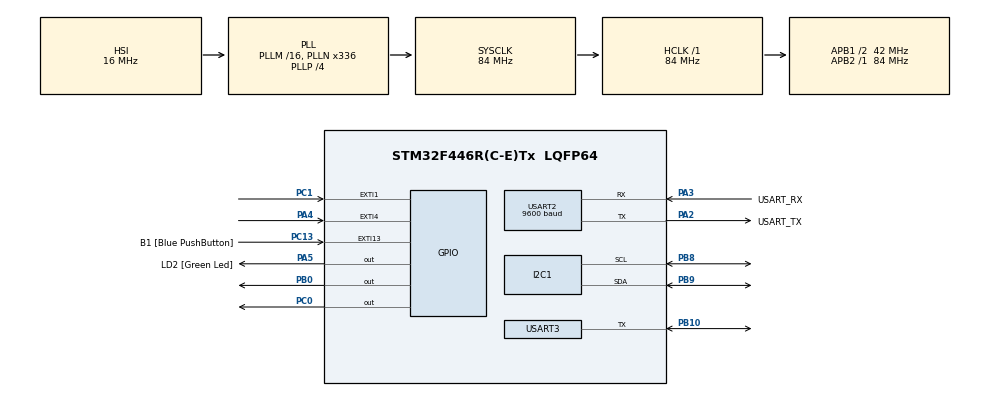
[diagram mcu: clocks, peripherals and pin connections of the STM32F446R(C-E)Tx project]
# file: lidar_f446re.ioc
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I2C1.I2C_Mode=I2C_Fast
Mcu.Family=STM32F4
Mcu.Name=STM32F446R(C-E)Tx
Mcu.Package=LQFP64
NVIC.EXTI1_IRQn=true\:0\:0\:false\:false\:true\:true\:true
NVIC.EXTI4_IRQn=true\:0\:0\:false\:false\:true\:true\:true
NVIC.PriorityGroup=NVIC_PRIORITYGROUP_0
PA13.GPIO_Label=TMS
PA13.Mode=Serial_Wire
PA13.Signal=SYS_JTMS-SWDIO
PA14.GPIO_Label=TCK
PA14.Mode=Serial_Wire
PA14.Signal=SYS_JTCK-SWCLK
PA2.GPIO_Label=USART_TX
PA2.Mode=Asynchronous
PA2.Signal=USART2_TX
PA3.GPIO_Label=USART_RX
PA3.Mode=Asynchronous
PA3.Signal=USART2_RX
PA4.Signal=GPXTI4
PA5.GPIO_Label=LD2 [Green Led]
PA5.Signal=GPIO_Output
PB0.Signal=GPIO_Output
PB10.Mode=Half_duplex(single_wire_mode)
PB10.Signal=USART3_TX
PB3.GPIO_Label=SWO
PB3.Signal=SYS_JTDO-SWO
PB8.Mode=I2C
PB8.Signal=I2C1_SCL
PB9.Mode=I2C
PB9.Signal=I2C1_SDA
PC0.Signal=GPIO_Output
PC1.Signal=GPXTI1
PC13.GPIO_Label=B1 [Blue PushButton]
PC13.GPIO_ModeDefaultEXTI=GPIO_MODE_IT_FALLING
PC13.Signal=GPXTI13
PC14-OSC32_IN.Mode=LSE-External-Oscillator
PC14-OSC32_IN.Signal=RCC_OSC32_IN
PC15-OSC32_OUT.Mode=LSE-External-Oscillator
PC15-OSC32_OUT.Signal=RCC_OSC32_OUT
PH0-OSC_IN.Mode=HSE-External-Oscillator
PH0-OSC_IN.Signal=RCC_OSC_IN
PH1-OSC_OUT.Mode=HSE-External-Oscillator
PH1-OSC_OUT.Signal=RCC_OSC_OUT
ProjectManager.HeapSize=0x200
ProjectManager.StackSize=0x400
ProjectManager.TargetToolchain=STM32CubeIDE
RCC.48MHZClocksFreq_Value=84000000
RCC.AHBFreq_Value=84000000
RCC.APB1CLKDivider=RCC_HCLK_DIV2
RCC.APB1Freq_Value=42000000
RCC.APB1TimFreq_Value=84000000
RCC.APB2Freq_Value=84000000
RCC.APB2TimFreq_Value=84000000
RCC.CortexFreq_Value=84000000
RCC.FLatency-AdvancedSettings=FLASH_LATENCY_2
RCC.HCLKFreq_Value=84000000
RCC.HSE_VALUE=8000000
RCC.HSI_VALUE=16000000
RCC.PLLN=336
RCC.PLLP=RCC_PLLP_DIV4
RCC.SYSCLKFreq_VALUE=84000000
RCC.SYSCLKSource=RCC_SYSCLKSOURCE_PLLCLK
RCC.USBFreq_Value=168000000
RCC.VCOOutputFreq_Value=336000000
USART2.BaudRate=9600
USART2.VirtualMode=VM_ASYNC
USART3.BaudRate=250000
USART3.VirtualMode=VM_ASYNC
board=NUCLEO-F446RE

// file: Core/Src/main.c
/* USER CODE BEGIN Header */
/**
  ******************************************************************************
  * @file           : main.c
  * @brief          : Main program body
  ******************************************************************************
  * @attention
  *
  * <h2><center>&copy; Copyright (c) 2021 STMicroelectronics.
  * All rights reserved.</center></h2>
  *
  * This software component is licensed by ST under BSD 3-Clause license,
  * the "License"; You may not use this file except in compliance with the
  * License. You may obtain a copy of the License at:
  *                        opensource.org/licenses/BSD-3-Clause
  *
  ******************************************************************************
  */
/* USER CODE END Header */
#include "main.h"
#include "i2c.h"
#include "usart.h"
#include "gpio.h"

/* USER CODE BEGIN Includes */
#include "global.h"
/* USER CODE END Includes */

/* USER CODE BEGIN PV */
VL53L0X_Struct vl53l0x[NB_OF_SENSORS];
float results[NB_OF_SENSORS] = {0};
AX12 ax12;
/* USER CODE END PV */

void SystemClock_Config(void);

int main(void)
{

  /* MCU Configuration--------------------------------------------------------*/

  /* Reset of all peripherals, Initializes the Flash interface and the Systick. */
  HAL_Init();

  /* Configure the system clock */
  SystemClock_Config();

  /* Initialize all configured peripherals */
  MX_GPIO_Init();
  MX_USART2_UART_Init();
  MX_I2C1_Init();
  MX_USART3_UART_Init();
  /* USER CODE BEGIN 2 */
  RetargetInit(&huart2);
  printf("lidar_f446re\r\n");
  /* USER CODE END 2 */

  /* Infinite loop */
  /* USER CODE BEGIN WHILE */

  ///// VL53L0X /////

  // Initialisation du capteur n°1
#if NB_OF_SENSORS == 1
  vl_xshut_init(&vl53l0x[0], GPIOC, GPIO_PIN_0); 			// XSHUT = PC0
  vl_sensors_init(&vl53l0x[0], &hi2c1, NB_OF_SENSORS);
#endif
#if NB_OF_SENSORS == 2
  vl_xshut_init(&vl53l0x[0], GPIOC, GPIO_PIN_0); 			// XSHUT = PC0
  vl_xshut_init(&vl53l0x[1], GPIOB, GPIO_PIN_0); 			// XSHUT = PB0
  vl_sensors_init(vl53l0x, &hi2c1, NB_OF_SENSORS);
#endif

  ///// AX-12 /////
#if AX12_ENABLE
  AX12_Init(&ax12, &huart3, 1, BR_250K);
  AX12_TorqueE_D(&ax12, TRUE);
  AX12_setMaxTorque(&ax12,50);

  AX12_setRangeAngle(&ax12,0,300);
  AX12_setMovingSpeed(&ax12, 114);
  AX12_setPosition(&ax12, 0);
#endif

while (1)
  {
#if IT_MODE == 0
	  for(float k = AX12_POS_MIN+AX12_POS_JUMP; k <= AX12_POS_MAX; k += AX12_POS_JUMP){
		  for(int i=0; i<NB_OF_SENSORS; i++){
			  results[i] = (float)vl_perform_ranging(&vl53l0x[i]);
		  }
#if NB_OF_SENSORS == 1
		  printf("%f %f\r\n", k, results[0]);
#endif
#if NB_OF_SENSORS == 2
		  printf("%f %f %f\r\n", k, results[0], results[1]);
#endif
#if AX12_ENABLE
		  AX12_setPosition(&ax12, k);
#endif
		  HAL_Delay(AX12_TIME_JUMP);
	  }

	  for(float k = AX12_POS_MAX-AX12_POS_JUMP; k >= AX12_POS_MIN; k -= AX12_POS_JUMP){
		  for(int i=0; i<NB_OF_SENSORS; i++){
			  results[i] = (float)vl_perform_ranging(&vl53l0x[i]);
		  }
#if NB_OF_SENSORS == 1
		  printf("%f %f\r\n", k, results[0]);
#endif
#if NB_OF_SENSORS == 2
		  printf("%f %f %f\r\n", k, results[0], results[1]);
#endif
#if AX12_ENABLE
		  AX12_setPosition(&ax12, k);
#endif
		  HAL_Delay(AX12_TIME_JUMP);
	  }
#else
	  printf("1: %f 2: %f\r\n", results[0], results[1]);
#endif

    /* USER CODE END WHILE */

  }
}

void SystemClock_Config(void)
{
  RCC_OscInitTypeDef RCC_OscInitStruct = {0};
  RCC_ClkInitTypeDef RCC_ClkInitStruct = {0};

  /** Configure the main internal regulator output voltage
  */
  __HAL_RCC_PWR_CLK_ENABLE();
  __HAL_PWR_VOLTAGESCALING_CONFIG(PWR_REGULATOR_VOLTAGE_SCALE3);
  /** Initializes the RCC Oscillators according to the specified parameters
  * in the RCC_OscInitTypeDef structure.
  */
  RCC_OscInitStruct.OscillatorType = RCC_OSCILLATORTYPE_HSI;
  RCC_OscInitStruct.HSIState = RCC_HSI_ON;
  RCC_OscInitStruct.HSICalibrationValue = RCC_HSICALIBRATION_DEFAULT;
  RCC_OscInitStruct.PLL.PLLState = RCC_PLL_ON;
  RCC_OscInitStruct.PLL.PLLSource = RCC_PLLSOURCE_HSI;
  RCC_OscInitStruct.PLL.PLLM = 16;
  RCC_OscInitStruct.PLL.PLLN = 336;
  RCC_OscInitStruct.PLL.PLLP = RCC_PLLP_DIV4;
  RCC_OscInitStruct.PLL.PLLQ = 2;
  RCC_OscInitStruct.PLL.PLLR = 2;
  if (HAL_RCC_OscConfig(&RCC_OscInitStruct) != HAL_OK)
  {
    Error_Handler();
  }
  /** Initializes the CPU, AHB and APB buses clocks
  */
  RCC_ClkInitStruct.ClockType = RCC_CLOCKTYPE_HCLK|RCC_CLOCKTYPE_SYSCLK
                              |RCC_CLOCKTYPE_PCLK1|RCC_CLOCKTYPE_PCLK2;
  RCC_ClkInitStruct.SYSCLKSource = RCC_SYSCLKSOURCE_PLLCLK;
  RCC_ClkInitStruct.AHBCLKDivider = RCC_SYSCLK_DIV1;
  RCC_ClkInitStruct.APB1CLKDivider = RCC_HCLK_DIV2;
  RCC_ClkInitStruct.APB2CLKDivider = RCC_HCLK_DIV1;

  if (HAL_RCC_ClockConfig(&RCC_ClkInitStruct, FLASH_LATENCY_2) != HAL_OK)
  {
    Error_Handler();
  }
}

void Error_Handler(void)
{
  __disable_irq();
  while (1)
  {
  }
}

/************************ (C) COPYRIGHT STMicroelectronics *****END OF FILE****/
